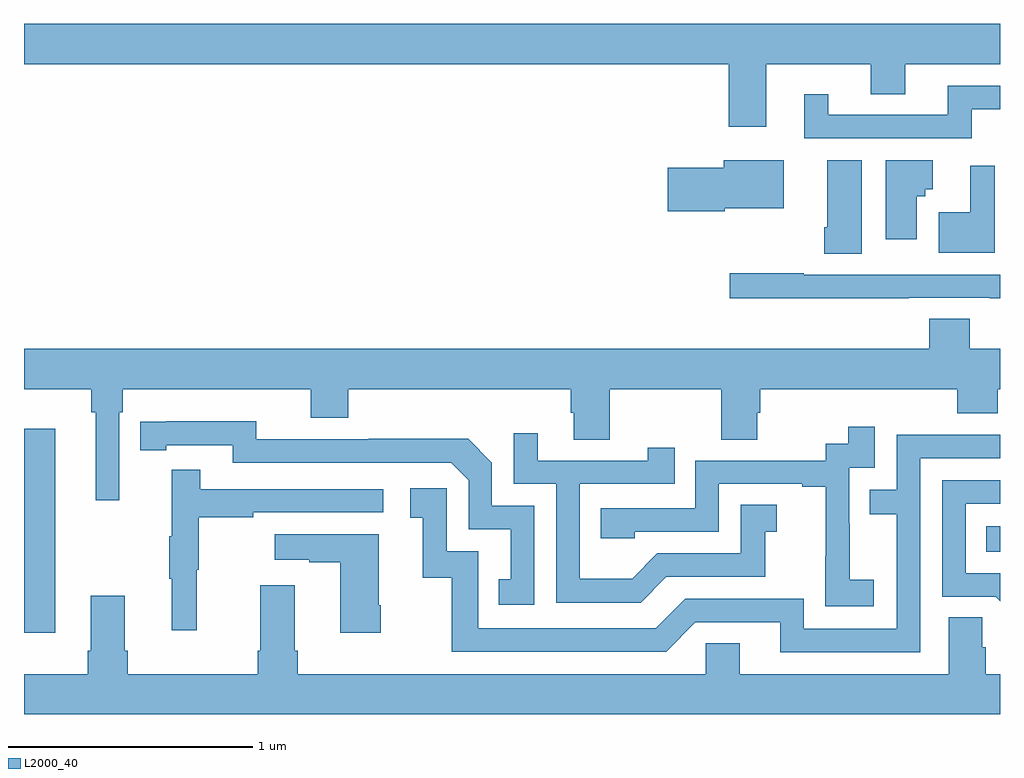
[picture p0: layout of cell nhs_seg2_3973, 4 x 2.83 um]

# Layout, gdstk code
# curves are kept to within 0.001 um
import gdstk
lib = gdstk.Library(unit=1e-6, precision=1e-09)
def R(c, l, rs):  # rectangles x0, y0, x1, y1
    for r in rs: c.add(gdstk.rectangle(r[:2], r[2:], *l))
def P(c, l, *ps):  # polygons
    for p in ps: c.add(gdstk.Polygon(p, *l))
L2000_40 = (2000, 40)

nhs_seg2_3973 = lib.new_cell('nhs_seg2_3973')
R(nhs_seg2_3973, L2000_40, [(323,598.686,323.128,599.521), (326.944,599.018,327,599.122)])
P(nhs_seg2_3973, L2000_40, [(326.041,601.016),(326.471,601.016),(326.471,600.892),(326.611,600.892),(326.611,601.016),(327,601.016),(327,601.18),(323,601.18),(323,601.016),(325.889,601.016),(325.889,600.759),(326.041,600.759)],
  [(326.884,600.831),(327,600.831),(327,600.927),(326.786,600.927),(326.786,600.807),(326.296,600.807),(326.296,600.892),(326.198,600.892),(326.198,600.711),(326.884,600.711)],
  [(326.434,600.622),(326.291,600.622),(326.291,600.346),(326.279,600.346),(326.279,600.238),(326.434,600.238)],
  [(325.872,600.425),(326.113,600.425),(326.113,600.622),(325.868,600.622),(325.868,600.591),(325.638,600.591),(325.638,600.413),(325.872,600.413)],
  [(326.659,600.475),(326.694,600.475),(326.694,600.503),(326.725,600.503),(326.725,600.622),(326.531,600.622),(326.531,600.297),(326.659,600.297)],
  [(326.978,600.598),(326.879,600.598),(326.879,600.408),(326.748,600.408),(326.748,600.242),(326.978,600.242)],
  [(326.627,600.057),(326.959,600.057),(326.959,600.056),(327,600.056),(327,600.153),(326.195,600.153),(326.195,600.158),(325.893,600.158),(325.893,600.056),(326.627,600.056)],
  [(323.391,599.588),(323.405,599.588),(323.405,599.684),(324.176,599.684),(324.176,599.567),(324.329,599.567),(324.329,599.684),(325.241,599.684),(325.241,599.586),(325.253,599.586),(325.253,599.476),(325.401,599.476),(325.401,599.684),(325.858,599.684),(325.858,599.476),(326.005,599.476),(326.005,599.586),(326.018,599.586),(326.018,599.684),(326.825,599.684),(326.825,599.585),(326.99,599.585),(326.99,599.684),(327,599.684),(327,599.848),(326.876,599.848),(326.876,599.972),(326.711,599.972),(326.711,599.848),(323,599.848),(323,599.684),(323.275,599.684),(323.275,599.588),(323.294,599.588),(323.294,599.229),(323.391,599.229)],
  [(325.092,599.205),(324.918,599.205),(324.918,599.382),(324.82,599.48),(324.412,599.48),(324.412,599.478),(323.952,599.478),(323.952,599.551),(323.476,599.55),(323.476,599.434),(323.584,599.434),(323.584,599.454),(323.856,599.454),(323.856,599.382),(324.75,599.382),(324.822,599.31),(324.822,599.109),(324.995,599.109),(324.995,598.905),(324.946,598.905),(324.946,598.8),(325.092,598.8)],
  [(326.482,598.903),(326.384,598.903),(326.384,599.132),(326.382,599.132),(326.382,599.361),(326.487,599.361),(326.487,599.53),(326.379,599.53),(326.379,599.46),(326.286,599.46),(326.286,599.391),(325.752,599.391),(325.752,599.196),(325.363,599.196),(325.363,599.073),(325.503,599.073),(325.503,599.1),(325.848,599.1),(325.848,599.295),(326.189,599.295),(326.189,599.283),(326.285,599.283),(326.285,598.999),(326.284,598.999),(326.284,598.793),(326.482,598.793)],
  [(325.633,598.914),(326.037,598.914),(326.037,599.099),(326.086,599.099),(326.086,599.209),(325.938,599.209),(325.938,599.01),(325.596,599.01),(325.492,598.906),(325.278,598.906),(325.278,599.295),(325.667,599.295),(325.667,599.443),(325.556,599.443),(325.556,599.391),(325.105,599.391),(325.105,599.503),(325.008,599.503),(325.008,599.295),(325.182,599.295),(325.182,598.809),(325.528,598.809)],
  [(326.673,599.4),(327,599.4),(327,599.496),(326.577,599.496),(326.577,599.271),(326.467,599.271),(326.467,599.17),(326.577,599.17),(326.577,598.701),(326.196,598.701),(326.196,598.824),(325.71,598.824),(325.59,598.704),(324.861,598.704),(324.861,599.019),(324.732,599.019),(324.732,599.278),(324.582,599.278),(324.582,599.157),(324.635,599.157),(324.635,598.911),(324.753,598.911),(324.753,598.608),(325.632,598.608),(325.752,598.728),(326.099,598.728),(326.099,598.605),(326.673,598.605)],
  [(323.708,598.944),(323.716,598.944),(323.716,599.158),(323.939,599.158),(323.939,599.178),(324.472,599.178),(324.472,599.274),(323.723,599.274),(323.723,599.353),(323.606,599.353),(323.606,599.081),(323.595,599.081),(323.595,598.907),(323.606,598.907),(323.606,598.695),(323.708,598.695)],
  [(327,598.929),(326.859,598.929),(326.859,599.214),(327,599.214),(327,599.31),(326.763,599.31),(326.763,598.833),(326.982,598.833),(327,598.815)],
  [(324.462,598.798),(324.454,598.798),(324.454,599.089),(324.027,599.089),(324.027,598.985),(324.17,598.985),(324.17,598.975),(324.296,598.975),(324.296,598.686),(324.462,598.686)],
  [(327,598.516),(326.942,598.516),(326.942,598.625),(326.928,598.625),(326.928,598.748),(326.789,598.748),(326.789,598.516),(325.933,598.516),(325.933,598.643),(325.794,598.643),(325.794,598.516),(324.122,598.516),(324.122,598.612),(324.109,598.612),(324.109,598.879),(323.969,598.879),(323.969,598.612),(323.957,598.612),(323.957,598.516),(323.426,598.516),(323.426,598.612),(323.413,598.612),(323.413,598.837),(323.273,598.837),(323.273,598.612),(323.261,598.612),(323.261,598.516),(323,598.516),(323,598.352),(327,598.352)])

lib.write_gds('nhs_seg2_3973.gds')
